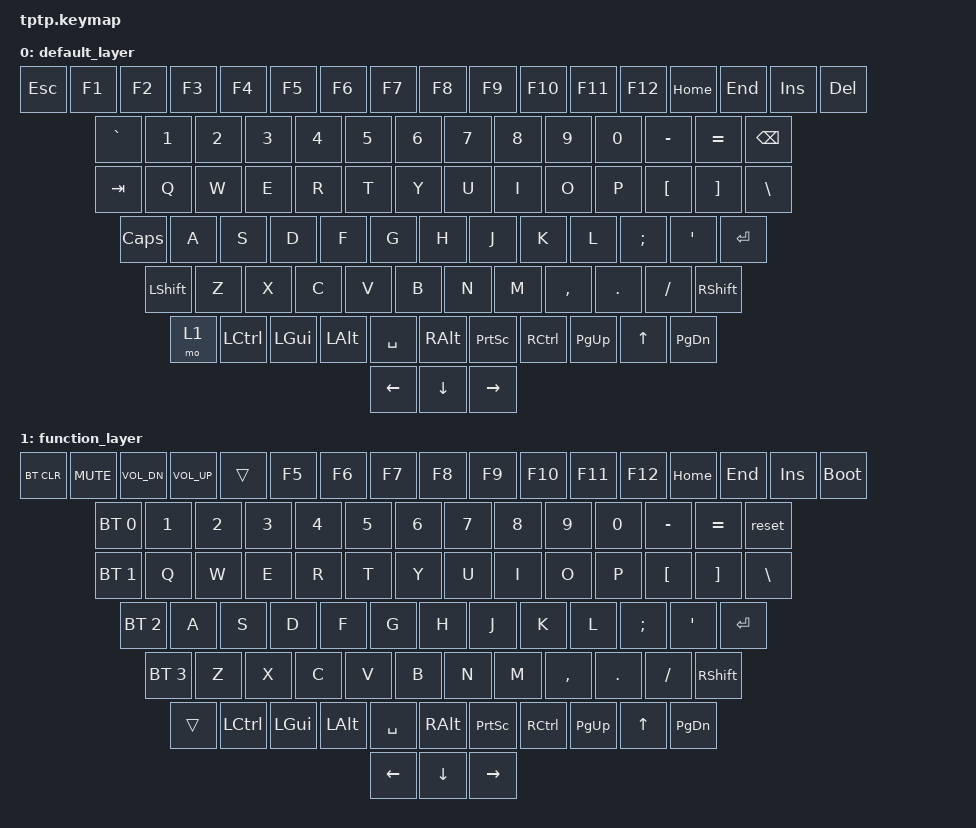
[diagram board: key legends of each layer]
/*
 * Copyright (c) 2021 Nick Winans
 *
 * SPDX-License-Identifier: MIT
 */

#include <behaviors.dtsi>
#include <dt-bindings/zmk/keys.h>
#include <dt-bindings/zmk/bt.h>

// -----------------------------------------------------------------------------------------------
// | ESC | F1 | F2 | F3 | F4 | F5 | F6 | F7 | F8 | F9 | F10 | F11 | F12 | HOME | END | INS | DEL |
// |  GRV  |  1  |  2  |  3  |  4  |  5  |  6  |  7  |  8  |  9  |  0  |  -  |  =   |    BKSP    |
// |   TAB   |  Q  |  W  |  E  |  R  |  T  |  Y  |  U  |  I  |  O  |  P  |  [  |  ]  |    "|"    |
// |    CAPS   |  A  |  S  |  D  |  F  |  G  |  H  |  J  |  K  |  L  |  ;  |  '  |     ENTER     |
// |     SHIFT     |  Z  |  X  |  C  |  V  |  B  |  N  |  M  |  ,  |  .  |  /  |      SHIFT      |
// | MO1 | CTL | WIN | ALT |             SPACE            | ALT | PSC | CTL | PGUP |  UP  | PGDN |
// |                                                                        | LEFT | DOWN | RIGHT|
// -----------------------------------------------------------------------------------------------

/ {
	keymap {
		compatible = "zmk,keymap";
		
		default_layer {
			bindings = <
	&kp ESC  &kp F1  &kp F2  &kp F3  &kp F4  &kp F5  &kp F6  &kp F7  &kp F8  &kp F9  &kp F10  &kp F11  &kp F12  &kp HOME  &kp END  &kp INSERT  &kp DEL
	&kp GRAVE               &kp N1  &kp N2  &kp N3  &kp N4  &kp N5  &kp N6  &kp N7  &kp N8  &kp N9  &kp N0  &kp MINUS  &kp EQUAL              &kp BSPC
	&kp TAB                    &kp Q  &kp W  &kp E  &kp R  &kp T  &kp Y  &kp U  &kp I  &kp O  &kp P  &kp LBKT  &kp RBKT                       &kp BSLH
	&kp CAPS                     &kp A  &kp S  &kp D  &kp F  &kp G  &kp H  &kp J  &kp K  &kp L  &kp SEMI &kp SQT                               &kp RET
	&kp LSHFT                      &kp Z  &kp X  &kp C  &kp V  &kp B  &kp N  &kp M  &kp COMMA &kp DOT &kp SLASH                              &kp RSHFT
	&mo 1  &kp LCTRL  &kp LGUI  &kp LALT                    &kp SPACE                   &kp RALT  &kp PSCRN  &kp RCTRL  &kp PG_UP  &kp UP  &kp PG_DN
	                                                                                                                    &kp LEFT  &kp DOWN   &kp RIGHT
			>;
		};

		function_layer {
			bindings = <
	&bt BT_CLR  &kp C_MUTE  &kp C_VOL_DN  &kp C_VOL_UP  &trans  &kp F5  &kp F6  &kp F7  &kp F8  &kp F9  &kp F10  &kp F11  &kp F12  &kp HOME  &kp END  &kp INSERT  &bootloader
	&bt BT_SEL 0               &kp N1  &kp N2  &kp N3  &kp N4  &kp N5  &kp N6  &kp N7  &kp N8  &kp N9  &kp N0  &kp MINUS  &kp EQUAL              &reset
	&bt BT_SEL 1                 &kp Q  &kp W  &kp E  &kp R  &kp T  &kp Y  &kp U  &kp I  &kp O  &kp P  &kp LBKT  &kp RBKT                       &kp BSLH
	&bt BT_SEL 2                   &kp A  &kp S  &kp D  &kp F  &kp G  &kp H  &kp J  &kp K  &kp L  &kp SEMI &kp SQT                               &kp RET
	&bt BT_SEL 3                     &kp Z  &kp X  &kp C  &kp V  &kp B  &kp N  &kp M  &kp COMMA &kp DOT &kp SLASH                              &kp RSHFT
	&trans  &kp LCTRL  &kp LGUI  &kp LALT                     &kp SPACE                   &kp RALT  &kp PSCRN  &kp RCTRL  &kp PG_UP  &kp UP  &kp PG_DN
	                                                                                                                      &kp LEFT  &kp DOWN   &kp RIGHT
			>;
		};
	};
};
 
